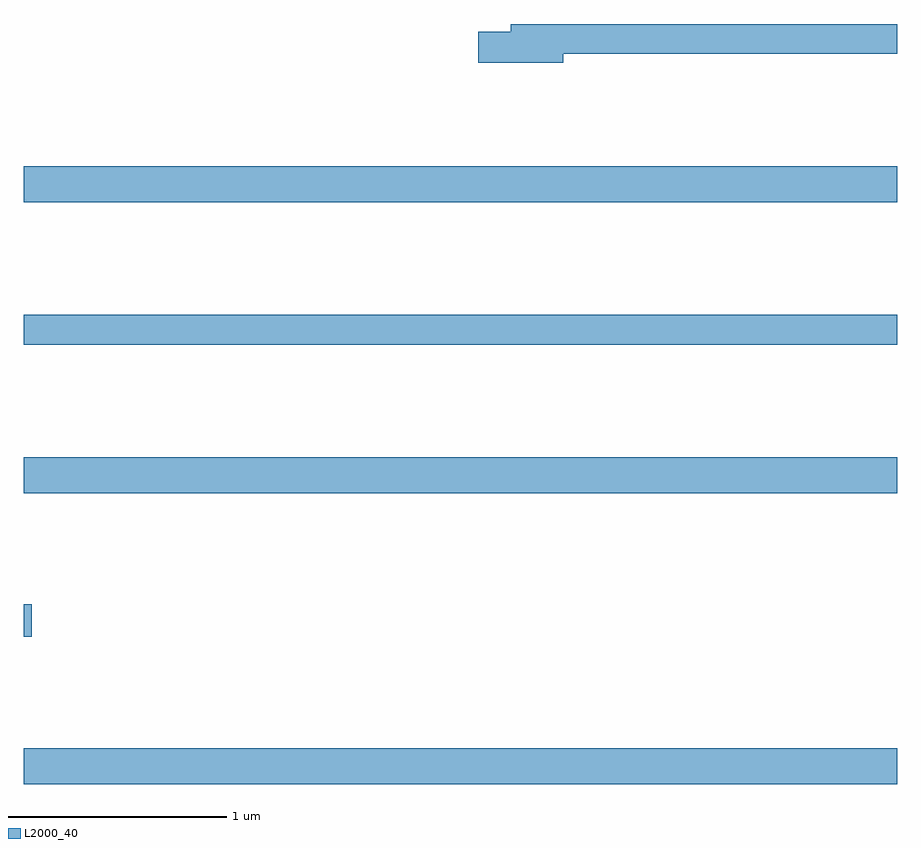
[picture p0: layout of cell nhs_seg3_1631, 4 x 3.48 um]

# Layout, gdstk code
import gdstk
lib = gdstk.Library(unit=1e-6, precision=1e-09)
def R(c, l, rs):  # rectangles x0, y0, x1, y1
    for r in rs: c.add(gdstk.rectangle(r[:2], r[2:], *l))
def A(c, l, x, y, w, h, nx, ny, dx, dy):  # array of equal rectangles
    R(c, l, [(x+i*dx, y+j*dy, x+i*dx+w, y+j*dy+h) for i in range(nx) for j in range(ny)])
def P(c, l, *ps):  # polygons
    for p in ps: c.add(gdstk.Polygon(p, *l))
L2000_40 = (2000, 40)

nhs_seg3_1631 = lib.new_cell('nhs_seg3_1631')
A(nhs_seg3_1631, L2000_40, 195, 708.908, 4, 0.164, 1, 3, 0, 1.332)
R(nhs_seg3_1631, L2000_40, [(195,709.583,195.037,709.73), (195,710.92,199,711.056)])
P(nhs_seg3_1631, L2000_40, [(197.47,712.252),(199,712.252),(199,712.388),(197.231,712.388),(197.231,712.352),(197.082,712.352),(197.082,712.21),(197.47,712.21)])

lib.write_gds('nhs_seg3_1631.gds')
